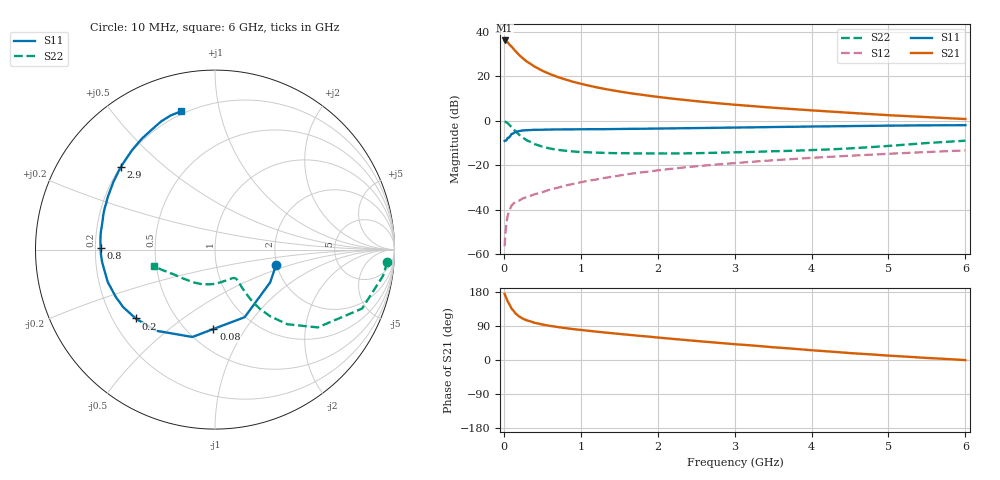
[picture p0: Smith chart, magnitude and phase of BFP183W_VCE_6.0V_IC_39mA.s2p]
! Infineon Technologies  Discrete & RF Semiconductors
! BFP183W
! VCE =  6.0 V,  IC =  39 mA
! Common Emitter S-Parameters:  Jan 2017
# GHz  S  MA  R  50
!  f  S11  S21  S12  S22
! GHz  MAG  ANG  MAG  ANG  MAG  ANG  MAG  ANG
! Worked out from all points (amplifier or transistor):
!   77 points, 10 MHz to 6 GHz, reference 50 ohm
!   highest |S21| = 36.1 dB at 10 MHz (marker M1)
!   |S21| within 3 dB of that: start of sweep to 106.1 MHz
!   unconditionally stable (mu >= 1): 843.7 MHz to 3.34 GHz
!   at 130 MHz: K = 0.34, MSG = 34.7 dB, |S12| = -37.1 dB
!   at 2.2 GHz: K = 1.06, MAG = 14.3 dB, |S12| = -21.6 dB
!   at 6 GHz: K = 0.86, MSG = 7.1 dB, |S12| = -13.4 dB
!   S11 on the Smith chart (normalised r, x): 10 MHz: 1.98, -0.38; 80 MHz: 0.66, -0.73; 200 MHz: 0.30, -0.34; 800 MHz: 0.22, +0.01; 2.9 GHz: 0.20, +0.36; 6 GHz: 0.18, +0.77
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0.01  0.3512 -14.0  64.02 174.9  0.0015 87.7  0.9626 -4.1
0.02  0.3575 -30.7  62.97 169.0  0.0029 89.9  0.9474 -8.9
0.05  0.4112 -66.3  57.8 154.5  0.0073 68.8  0.8831 -21.8
0.08  0.4428 -91.2  50.37 144.1  0.0102 62.6  0.7775 -30.2
0.1  0.5028 -104.5  46.57 135.5  0.0122 60.1  0.7186 -37.1
0.15  0.5587 -126.0  37.07 123.3  0.015 52.3  0.5793 -45.9
0.2  0.585 -139.0  30.05 114.8  0.016 51.8  0.4819 -50.4
0.25  0.604 -148.0  25.08 108.8  0.0179 49.5  0.4122 -52.9
0.3  0.6124 -154.5  21.38 104.5  0.0191 50.0  0.3615 -54.2
0.4  0.6244 -163.3  16.51 98.1  0.0221 53.5  0.2976 -54.8
0.5  0.6268 -169.3  13.33 93.7  0.0246 55.6  0.2606 -54.6
0.6  0.633 -173.9  11.22 90.1  0.0283 57.7  0.2367 -54.2
0.7  0.636 -177.6  9.638 87.0  0.031 60.6  0.2206 -53.8
0.8  0.6376 179.0  8.466 84.1  0.0348 62.4  0.2109 -53.7
1.1  0.6436 171.1  6.186 77.2  0.0447 63.3  0.1946 -55.1
1.5  0.6515 162.9  4.551 68.9  0.0581 64.5  0.1854 -59.9
2.1  0.669 151.4  3.281 57.5  0.0799 63.2  0.1829 -72.5
2.9  0.6977 138.7  2.372 43.5  0.1077 59.5  0.1925 -93.9
3.1  0.7044 135.7  2.221 40.3  0.1144 58.4  0.1957 -99.3
4.1  0.743 122.2  1.667 24.3  0.1492 52.2  0.2214 -126.3
5.1  0.7769 111.8  1.305 10.4  0.1834 45.7  0.2789 -151.7
6  0.7933 103.9  1.091 -0.3  0.2144 39.4  0.3545 -165.0
